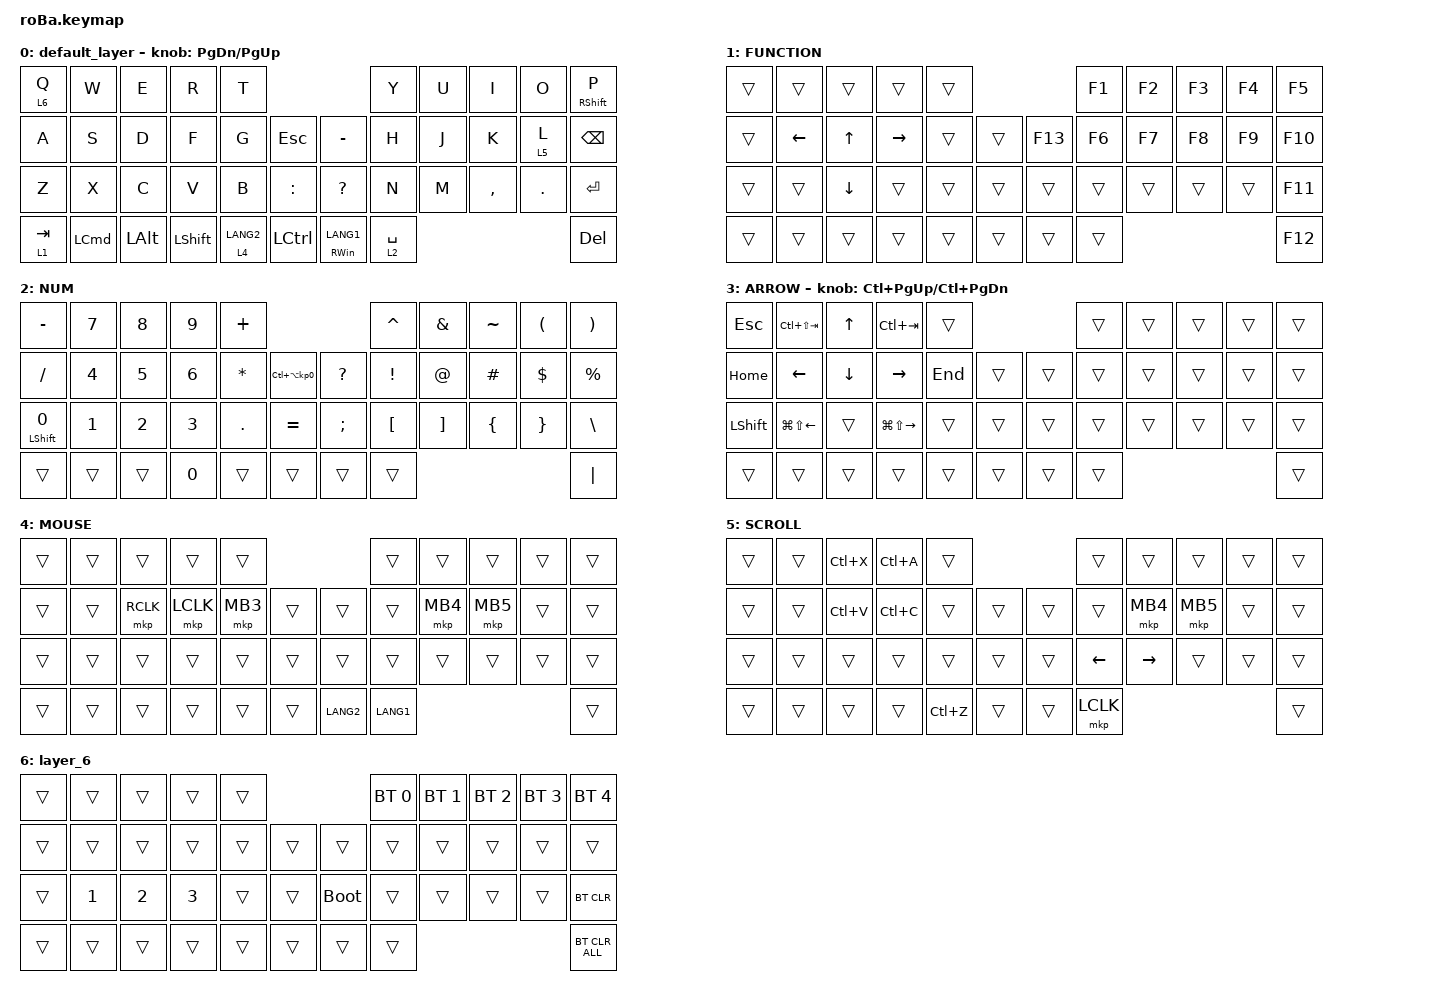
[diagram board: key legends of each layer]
#include <behaviors.dtsi>
#include <dt-bindings/zmk/bt.h>
#include <dt-bindings/zmk/keys.h>
#include <dt-bindings/zmk/pointing.h>

&mt {
    flavor = "balanced";
    quick-tap-ms = <0>;
};

&trackball {
    automouse-layer = <4>;
    scroll-layers = <5>;

    // arrows {
    //     layers = <3>;
    //     bindings =
    //         <&kp RIGHT_ARROW>,
    //         <&kp LEFT_ARROW>,
    //         <&kp UP_ARROW>,
    //         <&kp DOWN_ARROW>;
    //     tick = <10>;
    //     wait-ms = <5>;
    //     tap-ms = <5>;
    // };
};

/ {
    combos {
        compatible = "zmk,combos";

        tab {
            bindings = <&kp TAB>;
            key-positions = <11 12>;
        };

        shift_tab {
            bindings = <&kp LS(TAB)>;
            key-positions = <12 13>;
        };

        muhennkann {
            bindings = <&to_layer_0 INT_MUHENKAN>;
            key-positions = <11 10>;
        };

        double_quotation {
            bindings = <&kp DOUBLE_QUOTES>;
            key-positions = <20 21>;
        };

        eq {
            bindings = <&kp EQUAL>;
            key-positions = <24 25>;
        };
    };

    macros {
        to_layer_0: to_layer_0 {
            compatible = "zmk,behavior-macro-one-param";
            #binding-cells = <1>;
            bindings = <&to 0 &macro_param_1to1 &kp MACRO_PLACEHOLDER>;
            label = "TO_LAYER_0";
        };
    };

    behaviors {
        lt_to_layer_0: lt_to_layer_0 {
            compatible = "zmk,behavior-hold-tap";
            label = "LAYER_TAP_TO_0";
            bindings = <&mo>, <&to_layer_0>;

            #binding-cells = <2>;
            tapping-term-ms = <200>;
        };
    };

    keymap {
        compatible = "zmk,keymap";

        default_layer {
            bindings = <
&lt 6 Q    &kp W             &kp E         &kp R           &kp T                                                   &kp Y        &kp U  &kp I      &kp O    &mt RIGHT_SHIFT P
&kp A      &kp S             &kp D         &kp F           &kp G        &kp ESCAPE            &kp MINUS            &kp H        &kp J  &kp K      &lt 5 L  &kp BACKSPACE
&kp Z      &kp X             &kp C         &kp V           &kp B        &kp COLON             &kp QUESTION         &kp N        &kp M  &kp COMMA  &kp DOT  &kp ENTER
&lt 1 TAB  &kp LEFT_COMMAND  &kp LEFT_ALT  &kp LEFT_SHIFT  &lt 4 LANG2  &kp LEFT_CONTROL      &mt RIGHT_WIN LANG1  &lt 2 SPACE                             &kp DEL
            >;

            sensor-bindings = <&inc_dec_kp PAGE_DOWN PAGE_UP>;
        };

        FUNCTION {
            bindings = <
&trans  &trans          &trans          &trans           &trans                       &kp F1  &kp F2  &kp F3  &kp F4  &kp F5
&trans  &kp LEFT_ARROW  &kp UP_ARROW    &kp RIGHT_ARROW  &trans  &trans      &kp F13  &kp F6  &kp F7  &kp F8  &kp F9  &kp F10
&trans  &trans          &kp DOWN_ARROW  &trans           &trans  &trans      &trans   &trans  &trans  &trans  &trans  &kp F11
&trans  &trans          &trans          &trans           &trans  &trans      &trans   &trans                          &kp F12
            >;
        };

        NUM {
            bindings = <
&kp MINUS          &kp N7        &kp N8  &kp N9        &kp PLUS                                                &kp CARET         &kp AMPERSAND      &kp TILDE       &kp LEFT_PARENTHESIS  &kp RIGHT_PARENTHESIS
&kp SLASH          &kp N4        &kp N5  &kp NUMBER_6  &kp ASTRK   &kp LC(LA(KP_NUMBER_0))      &kp QUESTION   &kp EXCLAMATION   &kp AT_SIGN        &kp HASH        &kp DOLLAR            &kp PERCENT
&mt LEFT_SHIFT N0  &kp NUMBER_1  &kp N2  &kp NUMBER_3  &kp PERIOD  &kp EQUAL                    &kp SEMICOLON  &kp LEFT_BRACKET  &kp RIGHT_BRACKET  &kp LEFT_BRACE  &kp RIGHT_BRACE       &kp BACKSLASH
&trans             &trans        &trans  &kp N0        &trans      &trans                       &trans         &trans                                                                     &kp PIPE
            >;
        };

        ARROW {
            bindings = <
&kp ESCAPE      &kp LC(LS(TAB))         &kp UP_ARROW    &kp LC(TAB)              &trans                       &trans  &trans  &trans  &trans  &trans
&kp HOME        &kp LEFT_ARROW          &kp DOWN_ARROW  &kp RIGHT_ARROW          &kp END  &trans      &trans  &trans  &trans  &trans  &trans  &trans
&kp LEFT_SHIFT  &kp LG(LS(LEFT_ARROW))  &trans          &kp LG(LS(RIGHT_ARROW))  &trans   &trans      &trans  &trans  &trans  &trans  &trans  &trans
&trans          &trans                  &trans          &trans                   &trans   &trans      &trans  &trans                          &trans
            >;

            sensor-bindings = <&inc_dec_kp LC(PAGE_UP) LC(PAGE_DOWN)>;
        };

        MOUSE {
            bindings = <
&trans  &trans  &trans     &trans     &trans                           &trans     &trans    &trans    &trans  &trans
&trans  &trans  &mkp RCLK  &mkp LCLK  &mkp MB3  &trans      &trans     &trans     &mkp MB4  &mkp MB5  &trans  &trans
&trans  &trans  &trans     &trans     &trans    &trans      &trans     &trans     &trans    &trans    &trans  &trans
&trans  &trans  &trans     &trans     &trans    &trans      &kp LANG2  &kp LANG1                              &trans
            >;
        };

        SCROLL {
            bindings = <
&trans  &trans  &kp LC(X)  &kp LC(A)  &trans                         &trans          &trans           &trans    &trans  &trans
&trans  &trans  &kp LC(V)  &kp LC(C)  &trans     &trans      &trans  &trans          &mkp MB4         &mkp MB5  &trans  &trans
&trans  &trans  &trans     &trans     &trans     &trans      &trans  &kp LEFT_ARROW  &kp RIGHT_ARROW  &trans    &trans  &trans
&trans  &trans  &trans     &trans     &kp LC(Z)  &trans      &trans  &mkp LCLK                                          &trans
            >;
        };

        layer_6 {
            bindings = <
&trans  &trans        &trans        &trans        &trans                           &bt BT_SEL 0  &bt BT_SEL 1  &bt BT_SEL 2  &bt BT_SEL 3  &bt BT_SEL 4
&trans  &trans        &trans        &trans        &trans  &trans      &trans       &trans        &trans        &trans        &trans        &trans
&trans  &kp NUMBER_1  &kp NUMBER_2  &kp NUMBER_3  &trans  &trans      &bootloader  &trans        &trans        &trans        &trans        &bt BT_CLR
&trans  &trans        &trans        &trans        &trans  &trans      &trans       &trans                                                  &bt BT_CLR_ALL
            >;
        };
    };
};
